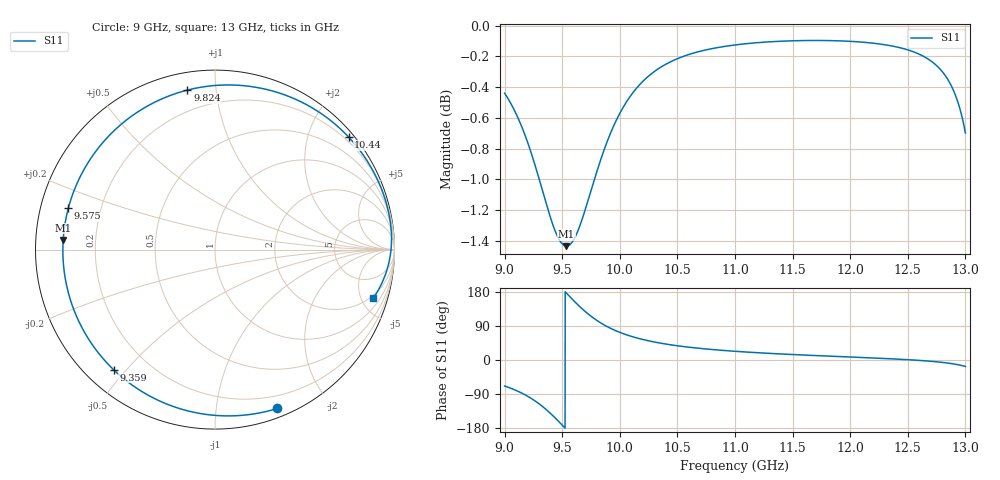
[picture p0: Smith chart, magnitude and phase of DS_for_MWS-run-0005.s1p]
! TOUCHSTONE file generated by CST DESIGN STUDIO
! Date and time: Tue Feb  4 14:11:48 2025
! Project name: C:\Work\MatlabApps\UnitCellOptimizationMatlab\CST\unitcell.cst
! Tree item: Tasks\Sweep1\SPara1\S-Parameters
! Header version: 2024
! Port assignment regex: !\s*Touchstone port\s*([0-9]+)\s*=\s*(CST MWS port|CST DES external port|CST DES block port)\s*(.+)\s* \(\"(.*)\"\)(\s*mode\s*([0-9]+))?.*
! Touchstone port assignment:
! Touchstone port 1 = CST DES external port 1 ("")
# GHz S MA R 50
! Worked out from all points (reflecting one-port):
!   4001 points, 9 GHz to 13 GHz, reference 50 ohm
!   lowest |S11| = -1.4 dB at 9.537 GHz (marker M1), VSWR 12.12, Z = 4.13 + j1.57 ohm
!   phase of S11 starts at -69 deg and turns -308 deg over the sweep
!   S11 on the Smith chart (normalised r, x): 9 GHz: 0.08, -1.46; 9.359 GHz: 0.08, -0.46; 9.575 GHz: 0.08, +0.14; 9.824 GHz: 0.09, +0.84; 10.44 GHz: 0.11, +2.73; 13 GHz: 1.71, -6.23
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9  0.9506 -68.6
9.1  0.9361 -80.4
9.211  0.9137 -97.6
9.288  0.8945 -113.1
9.359  0.8756 -130.2
9.436  0.8578 -151.9
9.5  0.849 -171.8
9.537  0.8476 176.4
9.575  0.8491 164.3
9.64  0.8581 144.5
9.699  0.8709 128.1
9.759  0.8859 113.4
9.824  0.902 99.8
9.903  0.9194 86.1
10  0.9364 72.9
10.093  0.9487 63.0
10.195  0.9588 54.5
10.31  0.9669 46.9
10.441  0.9734 40.1
10.5  0.9756 37.6
10.721  0.9815 29.9
11  0.9857 22.9
11.5  0.9888 14.4
12  0.9884 7.9
12.5  0.9821 0.8
12.796  0.9665 -6.2
12.908  0.9504 -10.8
13  0.9227 -17.0
